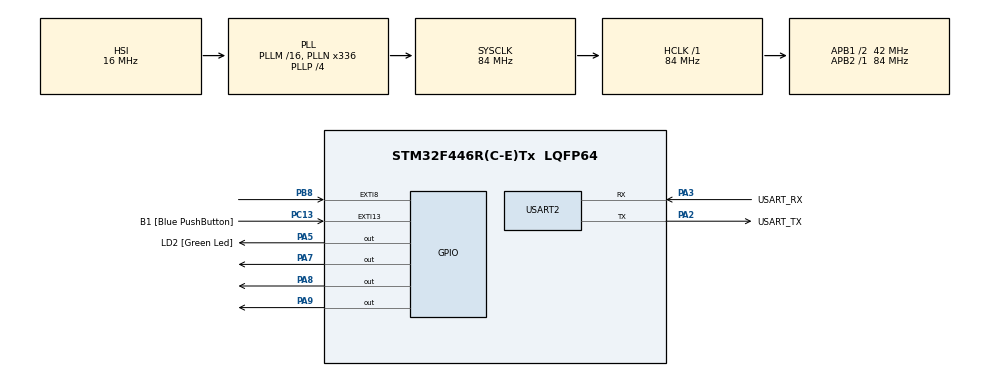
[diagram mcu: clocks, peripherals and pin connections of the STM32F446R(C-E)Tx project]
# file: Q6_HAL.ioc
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Mcu.Family=STM32F4
Mcu.Name=STM32F446R(C-E)Tx
Mcu.Package=LQFP64
NVIC.EXTI9_5_IRQn=true\:0\:0\:false\:false\:true\:true\:true\:true
NVIC.PriorityGroup=NVIC_PRIORITYGROUP_0
PA13.GPIO_Label=TMS
PA13.Mode=Serial_Wire
PA13.Signal=SYS_JTMS-SWDIO
PA14.GPIO_Label=TCK
PA14.Mode=Serial_Wire
PA14.Signal=SYS_JTCK-SWCLK
PA2.GPIO_Label=USART_TX
PA2.Mode=Asynchronous
PA2.Signal=USART2_TX
PA3.GPIO_Label=USART_RX
PA3.Mode=Asynchronous
PA3.Signal=USART2_RX
PA5.GPIO_Label=LD2 [Green Led]
PA5.Signal=GPIO_Output
PA7.Signal=GPIO_Output
PA8.Signal=GPIO_Output
PA9.Signal=GPIO_Output
PB3.GPIO_Label=SWO
PB3.Signal=SYS_JTDO-SWO
PB8.Signal=GPXTI8
PC13.GPIO_Label=B1 [Blue PushButton]
PC13.GPIO_ModeDefaultEXTI=GPIO_MODE_IT_FALLING
PC13.Signal=GPXTI13
PC14-OSC32_IN.Mode=LSE-External-Oscillator
PC14-OSC32_IN.Signal=RCC_OSC32_IN
PC15-OSC32_OUT.Mode=LSE-External-Oscillator
PC15-OSC32_OUT.Signal=RCC_OSC32_OUT
PH0-OSC_IN.Mode=HSE-External-Oscillator
PH0-OSC_IN.Signal=RCC_OSC_IN
PH1-OSC_OUT.Mode=HSE-External-Oscillator
PH1-OSC_OUT.Signal=RCC_OSC_OUT
ProjectManager.HeapSize=0x200
ProjectManager.StackSize=0x400
ProjectManager.TargetToolchain=STM32CubeIDE
RCC.48MHZClocksFreq_Value=84000000
RCC.AHBFreq_Value=84000000
RCC.APB1CLKDivider=RCC_HCLK_DIV2
RCC.APB1Freq_Value=42000000
RCC.APB1TimFreq_Value=84000000
RCC.APB2Freq_Value=84000000
RCC.APB2TimFreq_Value=84000000
RCC.CortexFreq_Value=84000000
RCC.FLatency-AdvancedSettings=FLASH_LATENCY_2
RCC.HCLKFreq_Value=84000000
RCC.HSE_VALUE=8000000
RCC.HSI_VALUE=16000000
RCC.PLLN=336
RCC.PLLP=RCC_PLLP_DIV4
RCC.SYSCLKFreq_VALUE=84000000
RCC.SYSCLKSource=RCC_SYSCLKSOURCE_PLLCLK
RCC.USBFreq_Value=168000000
RCC.VCOOutputFreq_Value=336000000
USART2.VirtualMode=VM_ASYNC
board=NUCLEO-F446RE

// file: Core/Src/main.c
/* USER CODE BEGIN Header */
/**
  ******************************************************************************
  * @file           : main.c
  * @brief          : Main program body
  ******************************************************************************
  * @attention
  *
  * Copyright (c) 2024 STMicroelectronics.
  * All rights reserved.
  *
  * This software is licensed under terms that can be found in the LICENSE file
  * in the root directory of this software component.
  * If no LICENSE file comes with this software, it is provided AS-IS.
  *
  ******************************************************************************
  */
/* USER CODE END Header */
#include "main.h"
#include "stdio.h"

int _write(int file, char *ptr, int len)
{
  (void)file;
  int DataIdx;

  for (DataIdx = 0; DataIdx < len; DataIdx++)
  {
	  ITM_SendChar(*ptr++);
  }
  return len;
}

UART_HandleTypeDef huart2;

void SystemClock_Config(void);
static void MX_GPIO_Init(void);
static void MX_USART2_UART_Init(void);

/* USER CODE BEGIN 0 */

void fun()
{
	static int count=1;
	static int x=1;
	printf("no of time pressed = %d \n ",count++);

	switch (x++) {
		case 4:
			x=1;
		case 1:
			while(HAL_GPIO_ReadPin(GPIOB, GPIO_PIN_8))
			{
				HAL_GPIO_WritePin(GPIOA, GPIO_PIN_7, SET);
			}
			HAL_GPIO_WritePin(GPIOA, GPIO_PIN_7, RESET);
			break;
		case 2:
			while(HAL_GPIO_ReadPin(GPIOB, GPIO_PIN_8))
			{
				HAL_GPIO_WritePin(GPIOA, GPIO_PIN_8, SET);
			}
			HAL_GPIO_WritePin(GPIOA, GPIO_PIN_8, RESET);
			break;
		case 3:
			while(HAL_GPIO_ReadPin(GPIOB, GPIO_PIN_8))
			{
				HAL_GPIO_WritePin(GPIOA, GPIO_PIN_9, SET);
			}
			HAL_GPIO_WritePin(GPIOA, GPIO_PIN_9, RESET);
			break;

	}

}
void HAL_GPIO_EXTI_Callback(uint16_t GPIO_PIN)
{

	if(GPIO_PIN==GPIO_PIN_8){
		fun();
	}
}

/* USER CODE END 0 */

int main(void)
{

  /* MCU Configuration--------------------------------------------------------*/

  /* Reset of all peripherals, Initializes the Flash interface and the Systick. */
  HAL_Init();

  /* Configure the system clock */
  SystemClock_Config();

  /* Initialize all configured peripherals */
  MX_GPIO_Init();
  MX_USART2_UART_Init();

  /* Infinite loop */
  while (1)
  {

  }
}

void SystemClock_Config(void)
{
  RCC_OscInitTypeDef RCC_OscInitStruct = {0};
  RCC_ClkInitTypeDef RCC_ClkInitStruct = {0};

  /** Configure the main internal regulator output voltage
  */
  __HAL_RCC_PWR_CLK_ENABLE();
  __HAL_PWR_VOLTAGESCALING_CONFIG(PWR_REGULATOR_VOLTAGE_SCALE3);

  /** Initializes the RCC Oscillators according to the specified parameters
  * in the RCC_OscInitTypeDef structure.
  */
  RCC_OscInitStruct.OscillatorType = RCC_OSCILLATORTYPE_HSI;
  RCC_OscInitStruct.HSIState = RCC_HSI_ON;
  RCC_OscInitStruct.HSICalibrationValue = RCC_HSICALIBRATION_DEFAULT;
  RCC_OscInitStruct.PLL.PLLState = RCC_PLL_ON;
  RCC_OscInitStruct.PLL.PLLSource = RCC_PLLSOURCE_HSI;
  RCC_OscInitStruct.PLL.PLLM = 16;
  RCC_OscInitStruct.PLL.PLLN = 336;
  RCC_OscInitStruct.PLL.PLLP = RCC_PLLP_DIV4;
  RCC_OscInitStruct.PLL.PLLQ = 2;
  RCC_OscInitStruct.PLL.PLLR = 2;
  if (HAL_RCC_OscConfig(&RCC_OscInitStruct) != HAL_OK)
  {
    Error_Handler();
  }

  /** Initializes the CPU, AHB and APB buses clocks
  */
  RCC_ClkInitStruct.ClockType = RCC_CLOCKTYPE_HCLK|RCC_CLOCKTYPE_SYSCLK
                              |RCC_CLOCKTYPE_PCLK1|RCC_CLOCKTYPE_PCLK2;
  RCC_ClkInitStruct.SYSCLKSource = RCC_SYSCLKSOURCE_PLLCLK;
  RCC_ClkInitStruct.AHBCLKDivider = RCC_SYSCLK_DIV1;
  RCC_ClkInitStruct.APB1CLKDivider = RCC_HCLK_DIV2;
  RCC_ClkInitStruct.APB2CLKDivider = RCC_HCLK_DIV1;

  if (HAL_RCC_ClockConfig(&RCC_ClkInitStruct, FLASH_LATENCY_2) != HAL_OK)
  {
    Error_Handler();
  }
}

static void MX_USART2_UART_Init(void)
{

  huart2.Instance = USART2;
  huart2.Init.BaudRate = 115200;
  huart2.Init.WordLength = UART_WORDLENGTH_8B;
  huart2.Init.StopBits = UART_STOPBITS_1;
  huart2.Init.Parity = UART_PARITY_NONE;
  huart2.Init.Mode = UART_MODE_TX_RX;
  huart2.Init.HwFlowCtl = UART_HWCONTROL_NONE;
  huart2.Init.OverSampling = UART_OVERSAMPLING_16;
  if (HAL_UART_Init(&huart2) != HAL_OK)
  {
    Error_Handler();
  }

}

static void MX_GPIO_Init(void)
{
  GPIO_InitTypeDef GPIO_InitStruct = {0};

  /* GPIO Ports Clock Enable */
  __HAL_RCC_GPIOC_CLK_ENABLE();
  __HAL_RCC_GPIOH_CLK_ENABLE();
  __HAL_RCC_GPIOA_CLK_ENABLE();
  __HAL_RCC_GPIOB_CLK_ENABLE();

  /*Configure GPIO pin Output Level */
  HAL_GPIO_WritePin(GPIOA, LD2_Pin|GPIO_PIN_7|GPIO_PIN_8|GPIO_PIN_9, GPIO_PIN_RESET);

  /*Configure GPIO pin : B1_Pin */
  GPIO_InitStruct.Pin = B1_Pin;
  GPIO_InitStruct.Mode = GPIO_MODE_IT_FALLING;
  GPIO_InitStruct.Pull = GPIO_NOPULL;
  HAL_GPIO_Init(B1_GPIO_Port, &GPIO_InitStruct);

  /*Configure GPIO pins : LD2_Pin PA7 PA8 PA9 */
  GPIO_InitStruct.Pin = LD2_Pin|GPIO_PIN_7|GPIO_PIN_8|GPIO_PIN_9;
  GPIO_InitStruct.Mode = GPIO_MODE_OUTPUT_PP;
  GPIO_InitStruct.Pull = GPIO_NOPULL;
  GPIO_InitStruct.Speed = GPIO_SPEED_FREQ_LOW;
  HAL_GPIO_Init(GPIOA, &GPIO_InitStruct);

  /*Configure GPIO pin : PB8 */
  GPIO_InitStruct.Pin = GPIO_PIN_8;
  GPIO_InitStruct.Mode = GPIO_MODE_IT_RISING;
  GPIO_InitStruct.Pull = GPIO_NOPULL;
  HAL_GPIO_Init(GPIOB, &GPIO_InitStruct);

  /* EXTI interrupt init*/
  HAL_NVIC_SetPriority(EXTI9_5_IRQn, 0, 0);
  HAL_NVIC_EnableIRQ(EXTI9_5_IRQn);

}

void Error_Handler(void)
{
  __disable_irq();
  while (1)
  {
  }
}
